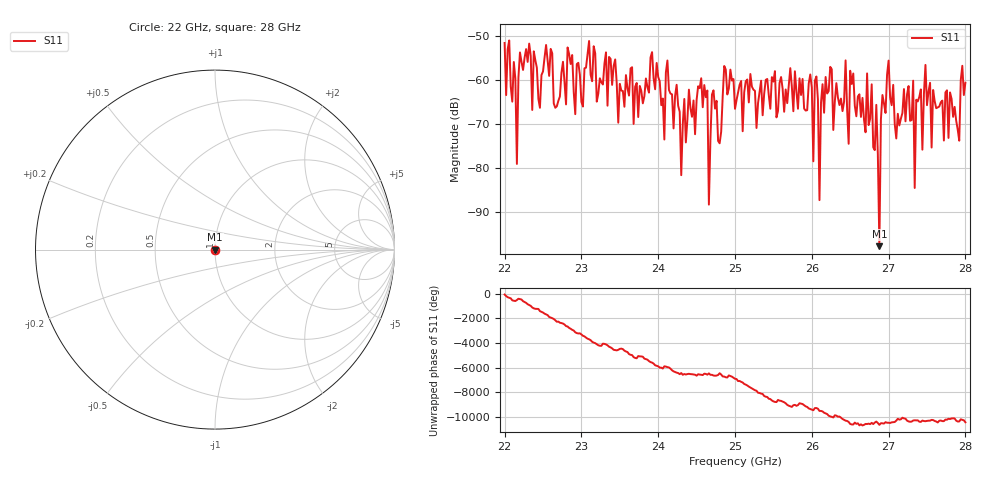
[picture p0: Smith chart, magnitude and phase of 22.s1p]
#  HZ  S  RI  R  50.00
! Rohde & Schwarz ZVA40 4Ports - Version 3.90 - 1145.1110k42 SN: 100403
! Date: 2023-10-04 08:10:24
! Measurement: S12
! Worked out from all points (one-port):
!   301 points, 22 GHz to 28 GHz, reference 50 ohm
!   lowest |S11| = -97.8 dB at 26.88 GHz (marker M1), VSWR 1.00, Z = 50 + j0.000389 ohm
!   |S11| at or under -10 dB: start of sweep to end of sweep
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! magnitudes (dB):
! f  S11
! 22 GHz  -51.6
! 22.12 GHz  -55.9
! 22.16 GHz  -79.1
! 22.2 GHz  -53.8
! 22.76 GHz  -55.9
! 23.5 GHz  -60.9
! 24.26 GHz  -65.9
! 24.3 GHz  -81.7
! 24.4 GHz  -62.2
! 25 GHz  -66.6
! 25.76 GHz  -67.1
! 25.98 GHz  -58.8
! 26.02 GHz  -78.5
! 26.06 GHz  -59.2
! 26.1 GHz  -87.3
! 26.14 GHz  -61.0
! 26.44 GHz  -55.6
! 26.48 GHz  -74.5
! 26.5 GHz  -57.9
! 26.88 GHz  -97.8
! 27 GHz  -55.6
! 27.1 GHz  -73.3
! 27.26 GHz  -61.4
! 27.32 GHz  -60.2
! 27.34 GHz  -84.6
! 27.48 GHz  -56.6
! 27.56 GHz  -75.4
! 28 GHz  -60.7
